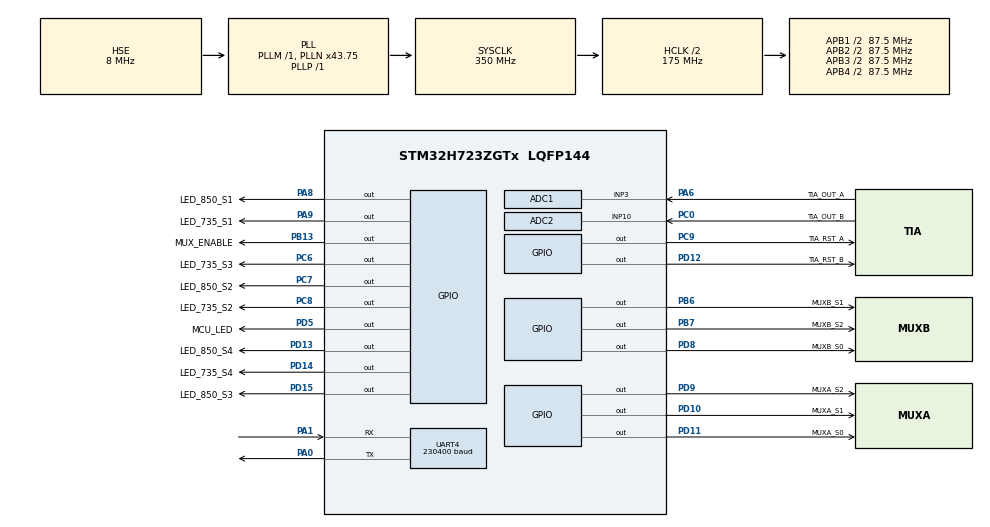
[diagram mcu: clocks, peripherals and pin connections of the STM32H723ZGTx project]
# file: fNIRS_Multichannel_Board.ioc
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ADC1.Channel-0\#ChannelRegularConversion=ADC_CHANNEL_3
ADC1.ClockPrescaler=ADC_CLOCK_ASYNC_DIV2
ADC1.NbrOfConversion=1
ADC1.NbrOfConversionFlag=1
ADC1.OffsetNumber-0\#ChannelRegularConversion=ADC_OFFSET_NONE
ADC1.OffsetSignedSaturation-0\#ChannelRegularConversion=DISABLE
ADC1.OversamplingMode=DISABLE
ADC1.Rank-0\#ChannelRegularConversion=1
ADC1.Resolution=ADC_RESOLUTION_16B
ADC1.SamplingTime-0\#ChannelRegularConversion=ADC_SAMPLETIME_64CYCLES_5
ADC1.master=1
ADC2.Channel-0\#ChannelRegularConversion=ADC_CHANNEL_10
ADC2.ClockPrescaler=ADC_CLOCK_ASYNC_DIV2
ADC2.NbrOfConversionFlag=1
ADC2.OffsetNumber-0\#ChannelRegularConversion=ADC_OFFSET_NONE
ADC2.OffsetSignedSaturation-0\#ChannelRegularConversion=DISABLE
ADC2.Rank-0\#ChannelRegularConversion=1
ADC2.SamplingTime-0\#ChannelRegularConversion=ADC_SAMPLETIME_64CYCLES_5
Mcu.Family=STM32H7
Mcu.Name=STM32H723ZGTx
Mcu.Package=LQFP144
NVIC.ADC_IRQn=true\:0\:0\:false\:false\:true\:true\:true\:true
NVIC.PriorityGroup=NVIC_PRIORITYGROUP_4
NVIC.TIM2_IRQn=true\:0\:0\:false\:false\:true\:true\:true\:true
NVIC.TIM3_IRQn=true\:0\:0\:false\:false\:true\:true\:true\:true
NVIC.UART4_IRQn=true\:0\:0\:false\:false\:true\:true\:true\:true
PA0.Mode=Asynchronous
PA0.Signal=UART4_TX
PA1.Mode=Asynchronous
PA1.Signal=UART4_RX
PA13(JTMS/SWDIO).GPIO_Label=SWDIO
PA13(JTMS/SWDIO).Mode=Trace_Asynchronous_SW
PA13(JTMS/SWDIO).Signal=DEBUG_JTMS-SWDIO
PA14(JTCK/SWCLK).GPIO_Label=SWCLK
PA14(JTCK/SWCLK).Mode=Trace_Asynchronous_SW
PA14(JTCK/SWCLK).Signal=DEBUG_JTCK-SWCLK
PA6.GPIO_Label=TIA_OUT_A
PA6.Signal=ADCx_INP3
PA8.GPIO_Label=LED_850_S1
PA8.Signal=GPIO_Output
PA9.GPIO_Label=LED_735_S1
PA9.Signal=GPIO_Output
PB13.GPIO_Label=MUX_ENABLE
PB13.Signal=GPIO_Output
PB3(JTDO/TRACESWO).GPIO_Label=SWO
PB3(JTDO/TRACESWO).Mode=Trace_Asynchronous_SW
PB3(JTDO/TRACESWO).Signal=DEBUG_JTDO-SWO
PB6.GPIO_Label=MUXB_S1
PB6.Signal=GPIO_Output
PB7.GPIO_Label=MUXB_S2
PB7.Signal=GPIO_Output
PC0.GPIO_Label=TIA_OUT_B
PC0.Signal=ADCx_INP10
PC14-OSC32_IN.Mode=LSE-External-Oscillator
PC14-OSC32_IN.Signal=RCC_OSC32_IN
PC15-OSC32_OUT.Mode=LSE-External-Oscillator
PC15-OSC32_OUT.Signal=RCC_OSC32_OUT
PC6.GPIO_Label=LED_735_S3
PC6.Signal=GPIO_Output
PC7.GPIO_Label=LED_850_S2
PC7.Signal=GPIO_Output
PC8.GPIO_Label=LED_735_S2
PC8.Signal=GPIO_Output
PC9.GPIO_Label=TIA_RST_A
PC9.Signal=GPIO_Output
PD10.GPIO_Label=MUXA_S1
PD10.Signal=GPIO_Output
PD11.GPIO_Label=MUXA_S0
PD11.Signal=GPIO_Output
PD12.GPIO_Label=TIA_RST_B
PD12.Signal=GPIO_Output
PD13.GPIO_Label=LED_850_S4
PD13.Signal=GPIO_Output
PD14.GPIO_Label=LED_735_S4
PD14.Signal=GPIO_Output
PD15.GPIO_Label=LED_850_S3
PD15.Signal=GPIO_Output
PD5.GPIO_Label=MCU_LED
PD5.Signal=GPIO_Output
PD8.GPIO_Label=MUXB_S0
PD8.Signal=GPIO_Output
PD9.GPIO_Label=MUXA_S2
PD9.Signal=GPIO_Output
PH0-OSC_IN.GPIO_Label=MCO
PH0-OSC_IN.Mode=HSE-External-Oscillator
PH0-OSC_IN.Signal=RCC_OSC_IN
PH1-OSC_OUT.Mode=HSE-External-Oscillator
PH1-OSC_OUT.Signal=RCC_OSC_OUT
ProjectManager.HeapSize=0x200
ProjectManager.StackSize=0x400
ProjectManager.TargetToolchain=STM32CubeIDE
RCC.ADCFreq_Value=96000000
RCC.APB1Freq_Value=87500000
RCC.APB2Freq_Value=87500000
RCC.APB3Freq_Value=87500000
RCC.APB4Freq_Value=87500000
RCC.CortexFreq_Value=350000000
RCC.D1PPRE=RCC_APB3_DIV2
RCC.D2PPRE1=RCC_APB1_DIV2
RCC.D2PPRE2=RCC_APB2_DIV2
RCC.D3PPRE=RCC_APB4_DIV2
RCC.DIVM1=1
RCC.DIVM2=1
RCC.DIVN1=43
RCC.DIVN2=24
RCC.DIVP1=1
RCC.DIVQ1=4
RCC.HCLKFreq_Value=175000000
RCC.HPRE=RCC_HCLK_DIV2
RCC.HSE_VALUE=8000000
RCC.PLL2FRACN=0
RCC.PLLFRACN=6144
RCC.PLLSourceVirtual=RCC_PLLSOURCE_HSE
RCC.SYSCLKFreq_VALUE=350000000
RCC.SYSCLKSource=RCC_SYSCLKSOURCE_PLLCLK
RCC.USBCLockSelection=RCC_USBCLKSOURCE_HSI48
RCC.USBFreq_Value=48000000
SH.ADCx_INP10.0=ADC2_INP10,IN10-Single-Ended
SH.ADCx_INP3.0=ADC1_INP3,IN3-Single-Ended
TIM2.Period=999
TIM2.Prescaler=1749
TIM3.Channel-Output\ Compare1\ No\ Output=TIM_CHANNEL_1
TIM3.OCMode_1=TIM_OCMODE_TIMING
TIM3.Period=499
TIM3.Prescaler=69
TIM3.Pulse-Output\ Compare1\ No\ Output=450
UART4.BaudRate=230400
VP_MEMORYMAP_VS_MEMORYMAP.Mode=CurAppReg
VP_TIM2_VS_ClockSourceINT.Mode=Internal
VP_TIM3_VS_ClockSourceINT.Mode=Internal
VP_TIM3_VS_no_output1.Mode=Output Compare1 No Output
VREF+.Mode=InternalMode
VREF+.Signal=VREFBUF_OUT
board=NUCLEO-H723ZG

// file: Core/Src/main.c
/* USER CODE BEGIN Header */
/**
  ******************************************************************************
  * @file           : main.c
  * @brief          : Main program body
  ******************************************************************************
  * @attention
  *
  * Copyright (c) 2024 STMicroelectronics.
  * All rights reserved.
  *
  * This software is licensed under terms that can be found in the LICENSE file
  * in the root directory of this software component.
  * If no LICENSE file comes with this software, it is provided AS-IS.
  *
  ******************************************************************************
  */
/* USER CODE END Header */
#include "main.h"

/* USER CODE BEGIN Includes */
#include "stdint.h"
/* USER CODE END Includes */

/* USER CODE BEGIN PD */
#define SAMPLE_COUNT 40U
#define NUM_TASKS 2U
#define NUM_BUFFERS 2U

#define NO_TRANSMISSION_IN_PROGRESS 255U

#define BUFFER_EMPTY 0U
#define BUFFER_FULL 1U

#define SAMPLING_INACTIVE 0U
#define SAMPLING_ACTIVE 1U

/* LED Source Macros */
#define LED_735_S1 1U
#define LED_850_S1 2U
#define LED_735_S2 3U
#define LED_850_S2 4U
#define LED_735_S3 5U
#define LED_850_S3 6U
#define LED_735_S4 7U
#define LED_850_S4 8U

/* MUX Macros */
#define MUX_A 'a'
#define MUX_B 'b'

#define DETECTOR_0 0U
#define DETECTOR_1 1U
#define DETECTOR_2 2U
#define DETECTOR_3 3U
#define DETECTOR_4 4U
#define DETECTOR_5 5U

/* USER CODE END PD */

/* USER CODE BEGIN PM */
/* This is what we send over UART to the PC. */
typedef struct {
	uint32_t uniqueHeader;
	uint16_t adcSamples[SAMPLE_COUNT];
	uint32_t uniqueEnder;	//The future vision here is a checksum.
} DataPacket_t;

/* This is an object that is being passed around. It mimics OOP but in C instead. */
typedef struct {
	DataPacket_t dataPacket;
	volatile uint8_t bufferFullFlag;
} DataBuffer_t;

/* This holds info about the specific configurations needed for a particular sample collection event. */
typedef struct {
    uint8_t led_source;        // e.g., LED_735_S1
    char mux_select;           // 'a' or 'b' for MUXA or MUXB
    uint8_t mux_input_value;   // 0 to 5
    uint32_t compare_value;    // 50μs or 100μs
} SamplingSequence_t;
/* USER CODE END PM */

ADC_HandleTypeDef hadc1;
ADC_HandleTypeDef hadc2;

TIM_HandleTypeDef htim2;
TIM_HandleTypeDef htim3;

UART_HandleTypeDef huart4;

/* USER CODE BEGIN PV */
/**
 * @brief This index is used to iterate through the buffer storing ADC samples.
 */
volatile uint8_t adcSampleIndex = 0;

/**
 * @brief This index is used to denote which buffer (0 or 1) is being filled by the ADC.
 * This is used by dataBuffers array to switch between which buffer is being referred to.
 */
volatile uint8_t bufferNumIndex = 0;

/**
 * @brief This is a flag that allows TIMER3 to do its job of collecting ADC data or switching buffer.
 * This flag is lowered once 40 ADC samples have been collected, effectively rendering
 * TIMER3 idle until the next 10ms sampling interval. This flag approach is a bandaid method
 * since you cannot disable TIMER3 (200us) and start it again within the IRQ handler of TIMER2 (10ms).
 */
volatile uint8_t samplingActive = SAMPLING_ACTIVE;

/**
 * @brief This flag indicates whether a UART transmission is in progress or not.
 */
volatile uint8_t transmittingBuffer = NO_TRANSMISSION_IN_PROGRESS; // Invalid index to indicate no transmission in progress

/**
 * @brief This instantiates two buffers to be ping-ponged for time efficiency.
 */
DataBuffer_t dataBuffers[NUM_BUFFERS];

/**
 * @brief Timer variables, used in initialization and output compare period calculations.
 * TIM3 & TIM2 are on APB1 bus matrix. Refer to page 139 of STM32H723ZG ref. manual
 * Timer Period = (Prescaler + 1) * (ARR + 1) / f_clk (Hz)
 */
#define F_CLK 175000000UL
#define TIM2_PSC 1749U
#define TIM2_ARR 1999U
#define TIM3_PSC 69U
#define TIM3_ARR 999U

/* Old 10ms and 200us configurations.
#define TIM2_PSC 1749U
#define TIM2_ARR 999U
#define TIM3_PSC 69U
#define TIM3_ARR 499U
*/

/**
 * @brief Long separation output compare period;
 * OC Match Time = (Prescaler + 1) * OC.Pulse / f_clk (Hz)
 * OC is tied to TIM3, which is APB1 bus matrix (f_clk = 175MHz)
 */
#define LONG_OC_PRD 180U                                                        //USER-DEFINED, desired compare period (in microseconds)
#define LONG_OC_PULSE (((uint64_t)LONG_OC_PRD * F_CLK) / ((TIM3_PSC + 1) * 1000000UL))    //CALCULATED, DO NOT TOUCH!

#define LONGMA_OC_PRD 360U                                                       //USER-DEFINED, desired compare period (in microseconds)
#define LONGMA_OC_PULSE (((uint64_t)LONGMA_OC_PRD * F_CLK) / ((TIM3_PSC + 1) * 1000000UL))    //CALCULATED, DO NOT TOUCH!

/**
 * @brief Short separation output compare period;
 * OC Match Time = (Prescaler + 1) * OC.Pulse / f_clk (Hz)
 * OC is tied to TIM3, which is APB1 bus matrix (f_clk = 175MHz)
 */
#define SHORT_OC_PRD 40U                                                        //USER-DEFINED, desired compare period (in microseconds)
#define SHORT_OC_PULSE (((uint64_t)SHORT_OC_PRD * F_CLK) / ((TIM3_PSC + 1) * 1000000UL))  //CALCULATED, DO NOT TOUCH!

#define SHORTMA_OC_PRD 80U                                                        //USER-DEFINED, desired compare period (in microseconds)
#define SHORTMA_OC_PULSE (((uint64_t)SHORT_OC_PRD * F_CLK) / ((TIM3_PSC + 1) * 1000000UL))  //CALCULATED, DO NOT TOUCH!

SamplingSequence_t sequence[] = {
    // For LED_735_S1
    {LED_735_S1, MUX_A, DETECTOR_0, LONG_OC_PULSE},
    {LED_735_S1, MUX_A, DETECTOR_1, LONG_OC_PULSE},
    {LED_735_S1, MUX_A, DETECTOR_2, SHORT_OC_PULSE},
    {LED_735_S1, MUX_A, DETECTOR_4, LONG_OC_PULSE},
    {LED_735_S1, MUX_A, DETECTOR_5, LONG_OC_PULSE},
    // For LED_850_S1
    {LED_850_S1, MUX_A, DETECTOR_0,  LONGMA_OC_PULSE},
    {LED_850_S1, MUX_A, DETECTOR_1,  LONGMA_OC_PULSE},
    {LED_850_S1, MUX_A, DETECTOR_2, SHORTMA_OC_PULSE},
    {LED_850_S1, MUX_A, DETECTOR_4,  LONGMA_OC_PULSE},
    {LED_850_S1, MUX_A, DETECTOR_5,  LONGMA_OC_PULSE},
    // For LED_735_S2
    {LED_735_S2, MUX_A, DETECTOR_2, LONG_OC_PULSE},
    {LED_735_S2, MUX_A, DETECTOR_3, LONG_OC_PULSE},
    {LED_735_S2, MUX_A, DETECTOR_4, SHORT_OC_PULSE},
    {LED_735_S2, MUX_B, DETECTOR_0, LONG_OC_PULSE},
    {LED_735_S2, MUX_B, DETECTOR_1, LONG_OC_PULSE},
    // For LED_850_S2
    {LED_850_S2, MUX_A, DETECTOR_2,  LONGMA_OC_PULSE},
    {LED_850_S2, MUX_A, DETECTOR_3,  LONGMA_OC_PULSE},
    {LED_850_S2, MUX_A, DETECTOR_4, SHORTMA_OC_PULSE},
    {LED_850_S2, MUX_B, DETECTOR_0,  LONGMA_OC_PULSE},
    {LED_850_S2, MUX_B, DETECTOR_1,  LONGMA_OC_PULSE},
    // For LED_735_S3
    {LED_735_S3, MUX_A, DETECTOR_4, LONG_OC_PULSE},
    {LED_735_S3, MUX_A, DETECTOR_5, LONG_OC_PULSE},
    {LED_735_S3, MUX_B, DETECTOR_0, SHORT_OC_PULSE},
    {LED_735_S3, MUX_B, DETECTOR_2, LONG_OC_PULSE},
    {LED_735_S3, MUX_B, DETECTOR_3, LONG_OC_PULSE},
    // For LED_850_S3
    {LED_850_S3, MUX_A, DETECTOR_4,  LONGMA_OC_PULSE},
    {LED_850_S3, MUX_A, DETECTOR_5,  LONGMA_OC_PULSE},
    {LED_850_S3, MUX_B, DETECTOR_0, SHORTMA_OC_PULSE},
    {LED_850_S3, MUX_B, DETECTOR_2,  LONGMA_OC_PULSE},
    {LED_850_S3, MUX_B, DETECTOR_3,  LONGMA_OC_PULSE},
    // For LED_735_S4
    {LED_735_S4, MUX_B, DETECTOR_0, LONG_OC_PULSE},
    {LED_735_S4, MUX_B, DETECTOR_1, LONG_OC_PULSE},
    {LED_735_S4, MUX_B, DETECTOR_2, SHORT_OC_PULSE},
    {LED_735_S4, MUX_B, DETECTOR_4, LONG_OC_PULSE},
    {LED_735_S4, MUX_B, DETECTOR_5, LONG_OC_PULSE},
    // For LED_850_S4
    {LED_850_S4, MUX_B, DETECTOR_0,  LONGMA_OC_PULSE},
    {LED_850_S4, MUX_B, DETECTOR_1,  LONGMA_OC_PULSE},
    {LED_850_S4, MUX_B, DETECTOR_2, SHORTMA_OC_PULSE},
    {LED_850_S4, MUX_B, DETECTOR_4,  LONGMA_OC_PULSE},
    {LED_850_S4, MUX_B, DETECTOR_5,  LONGMA_OC_PULSE}
};

#define SEQUENCE_LENGTH (sizeof(sequence) / sizeof(SamplingSequence_t))

volatile SamplingSequence_t current_sequence;

/* USER CODE END PV */

void SystemClock_Config(void);
void PeriphCommonClock_Config(void);
static void MX_GPIO_Init(void);
static void MX_ADC1_Init(void);
static void MX_UART4_Init(void);
static void MX_TIM2_Init(void);
static void MX_TIM3_Init(void);
static void MX_ADC2_Init(void);
/* USER CODE BEGIN PFP */
void UpdateSequenceState(void);
void SetMuxInputs(char mux_select, uint8_t mux_input_value);
void Check_Buffer_Full_Task(void);
void Buffers_Overflow_Error_Task(void);
void SetTIAHigh(char mux_select);
void SetTIALow(void);
void TurnOnLED(uint8_t led_source);
void TurnOffAllLEDs(void);
void StartADCConversion(char mux_select);
/* USER CODE END PFP */

/* USER CODE BEGIN 0 */
/**
 * @brief Task Array for Round-Robin Scheduler
 */
void (*TaskArray[NUM_TASKS])(void) =
{
	Check_Buffer_Full_Task,
	Buffers_Overflow_Error_Task
};

/* USER CODE END 0 */

int main(void)
{

  /* USER CODE BEGIN 1 */
  /* MCU LED active indicates no errors and everything is functional. */
  //HAL_GPIO_WritePin(MCU_LED_GPIO_Port, MCU_LED_Pin, GPIO_PIN_SET);

  /* USER CODE END 1 */

  /* MCU Configuration--------------------------------------------------------*/

  /* Reset of all peripherals, Initializes the Flash interface and the Systick. */
  HAL_Init();

  /* Configure the system clock */
  SystemClock_Config();

  /* Configure the peripherals common clocks */
  PeriphCommonClock_Config();

  /* Initialize all configured peripherals */
  MX_GPIO_Init();
  MX_ADC1_Init();
  MX_UART4_Init();
  MX_TIM2_Init();
  MX_TIM3_Init();
  MX_ADC2_Init();
  /* USER CODE BEGIN 2 */
  SetTIALow();
  HAL_Delay(10);  //Ensures TIA is fully discharged.

  /* Initializes the two buffer objects with data. */
	for (uint8_t i = 0; i < NUM_BUFFERS; i++)
	{
		dataBuffers[i].dataPacket.uniqueHeader = 0xFFFFFFFF;
		dataBuffers[i].dataPacket.uniqueEnder = 0xDEADBEEF;
		dataBuffers[i].bufferFullFlag = BUFFER_EMPTY;
	}

  /* Initializes the first sequence to kick things off. */
  UpdateSequenceState();

  /* Drives MUX Enable LOW to start receiving input changes. (Inverse logic) */
  HAL_GPIO_WritePin(MUX_ENABLE_GPIO_Port, MUX_ENABLE_Pin, GPIO_PIN_RESET);

  /* Selects the sensor and starts charging the TIA for the first 200us interval. */
  SetMuxInputs(current_sequence.mux_select, current_sequence.mux_input_value);
  TurnOnLED(current_sequence.led_source);
  SetTIAHigh(current_sequence.mux_select);

  /* Reset TIM2 and TIM3 counter */
  __HAL_TIM_SET_COUNTER(&htim3, 0);
  __HAL_TIM_SET_COUNTER(&htim2, 0);

  /* Kicks off 10ms timer, 200us timer, and Compare Capture */
	if (HAL_TIM_Base_Start_IT(&htim2) != HAL_OK){ Error_Handler(); }
	if (HAL_TIM_Base_Start_IT(&htim3) != HAL_OK){ Error_Handler(); }
	if (HAL_TIM_OC_Start_IT(&htim3, TIM_CHANNEL_1) != HAL_OK){ Error_Handler(); }

  // Round-Robin Scheduler Variables
  uint8_t currentTask = 0;

  /* USER CODE END 2 */

  /* Infinite loop */
  /* USER CODE BEGIN WHILE */
  while (1)
  {
    // Call the current task
		TaskArray[currentTask]();

		// Move to the next task
		currentTask = (currentTask + 1) % NUM_TASKS;
    /* USER CODE END WHILE */

  }
}

void SystemClock_Config(void)
{
  RCC_OscInitTypeDef RCC_OscInitStruct = {0};
  RCC_ClkInitTypeDef RCC_ClkInitStruct = {0};

  /** Supply configuration update enable
  */
  HAL_PWREx_ConfigSupply(PWR_LDO_SUPPLY);

  /** Configure the main internal regulator output voltage
  */
  __HAL_PWR_VOLTAGESCALING_CONFIG(PWR_REGULATOR_VOLTAGE_SCALE1);

  while(!__HAL_PWR_GET_FLAG(PWR_FLAG_VOSRDY)) {}

  /** Initializes the RCC Oscillators according to the specified parameters
  * in the RCC_OscInitTypeDef structure.
  */
  RCC_OscInitStruct.OscillatorType = RCC_OSCILLATORTYPE_HSE;
  RCC_OscInitStruct.HSEState = RCC_HSE_ON;
  RCC_OscInitStruct.PLL.PLLState = RCC_PLL_ON;
  RCC_OscInitStruct.PLL.PLLSource = RCC_PLLSOURCE_HSE;
  RCC_OscInitStruct.PLL.PLLM = 1;
  RCC_OscInitStruct.PLL.PLLN = 43;
  RCC_OscInitStruct.PLL.PLLP = 1;
  RCC_OscInitStruct.PLL.PLLQ = 4;
  RCC_OscInitStruct.PLL.PLLR = 2;
  RCC_OscInitStruct.PLL.PLLRGE = RCC_PLL1VCIRANGE_3;
  RCC_OscInitStruct.PLL.PLLVCOSEL = RCC_PLL1VCOWIDE;
  RCC_OscInitStruct.PLL.PLLFRACN = 6144;
  if (HAL_RCC_OscConfig(&RCC_OscInitStruct) != HAL_OK)
  {
    Error_Handler();
  }

  /** Initializes the CPU, AHB and APB buses clocks
  */
  RCC_ClkInitStruct.ClockType = RCC_CLOCKTYPE_HCLK|RCC_CLOCKTYPE_SYSCLK
                              |RCC_CLOCKTYPE_PCLK1|RCC_CLOCKTYPE_PCLK2
                              |RCC_CLOCKTYPE_D3PCLK1|RCC_CLOCKTYPE_D1PCLK1;
  RCC_ClkInitStruct.SYSCLKSource = RCC_SYSCLKSOURCE_PLLCLK;
  RCC_ClkInitStruct.SYSCLKDivider = RCC_SYSCLK_DIV1;
  RCC_ClkInitStruct.AHBCLKDivider = RCC_HCLK_DIV2;
  RCC_ClkInitStruct.APB3CLKDivider = RCC_APB3_DIV2;
  RCC_ClkInitStruct.APB1CLKDivider = RCC_APB1_DIV2;
  RCC_ClkInitStruct.APB2CLKDivider = RCC_APB2_DIV2;
  RCC_ClkInitStruct.APB4CLKDivider = RCC_APB4_DIV2;

  if (HAL_RCC_ClockConfig(&RCC_ClkInitStruct, FLASH_LATENCY_2) != HAL_OK)
  {
    Error_Handler();
  }
}

void PeriphCommonClock_Config(void)
{
  RCC_PeriphCLKInitTypeDef PeriphClkInitStruct = {0};

  /** Initializes the peripherals clock
  */
  PeriphClkInitStruct.PeriphClockSelection = RCC_PERIPHCLK_ADC;
  PeriphClkInitStruct.PLL2.PLL2M = 1;
  PeriphClkInitStruct.PLL2.PLL2N = 24;
  PeriphClkInitStruct.PLL2.PLL2P = 2;
  PeriphClkInitStruct.PLL2.PLL2Q = 2;
  PeriphClkInitStruct.PLL2.PLL2R = 2;
  PeriphClkInitStruct.PLL2.PLL2RGE = RCC_PLL2VCIRANGE_3;
  PeriphClkInitStruct.PLL2.PLL2VCOSEL = RCC_PLL2VCOWIDE;
  PeriphClkInitStruct.PLL2.PLL2FRACN = 0;
  PeriphClkInitStruct.AdcClockSelection = RCC_ADCCLKSOURCE_PLL2;
  if (HAL_RCCEx_PeriphCLKConfig(&PeriphClkInitStruct) != HAL_OK)
  {
    Error_Handler();
  }
}

static void MX_ADC1_Init(void)
{

  ADC_MultiModeTypeDef multimode = {0};
  ADC_ChannelConfTypeDef sConfig = {0};

  /** Common config
  */
  hadc1.Instance = ADC1;
  hadc1.Init.ClockPrescaler = ADC_CLOCK_ASYNC_DIV2;
  hadc1.Init.Resolution = ADC_RESOLUTION_16B;
  hadc1.Init.ScanConvMode = ADC_SCAN_DISABLE;
  hadc1.Init.EOCSelection = ADC_EOC_SINGLE_CONV;
  hadc1.Init.LowPowerAutoWait = DISABLE;
  hadc1.Init.ContinuousConvMode = DISABLE;
  hadc1.Init.NbrOfConversion = 1;
  hadc1.Init.DiscontinuousConvMode = DISABLE;
  hadc1.Init.ExternalTrigConv = ADC_SOFTWARE_START;
  hadc1.Init.ExternalTrigConvEdge = ADC_EXTERNALTRIGCONVEDGE_NONE;
  hadc1.Init.ConversionDataManagement = ADC_CONVERSIONDATA_DR;
  hadc1.Init.Overrun = ADC_OVR_DATA_PRESERVED;
  hadc1.Init.LeftBitShift = ADC_LEFTBITSHIFT_NONE;
  hadc1.Init.OversamplingMode = DISABLE;
  hadc1.Init.Oversampling.Ratio = 1;
  if (HAL_ADC_Init(&hadc1) != HAL_OK)
  {
    Error_Handler();
  }

  /** Configure the ADC multi-mode
  */
  multimode.Mode = ADC_MODE_INDEPENDENT;
  if (HAL_ADCEx_MultiModeConfigChannel(&hadc1, &multimode) != HAL_OK)
  {
    Error_Handler();
  }

  /** Configure Regular Channel
  */
  sConfig.Channel = ADC_CHANNEL_3;
  sConfig.Rank = ADC_REGULAR_RANK_1;
  sConfig.SamplingTime = ADC_SAMPLETIME_64CYCLES_5;
  sConfig.SingleDiff = ADC_SINGLE_ENDED;
  sConfig.OffsetNumber = ADC_OFFSET_NONE;
  sConfig.Offset = 0;
  sConfig.OffsetSignedSaturation = DISABLE;
  if (HAL_ADC_ConfigChannel(&hadc1, &sConfig) != HAL_OK)
  {
    Error_Handler();
  }

}

static void MX_ADC2_Init(void)
{

  ADC_ChannelConfTypeDef sConfig = {0};

  /** Common config
  */
  hadc2.Instance = ADC2;
  hadc2.Init.ClockPrescaler = ADC_CLOCK_ASYNC_DIV2;
  hadc2.Init.Resolution = ADC_RESOLUTION_16B;
  hadc2.Init.ScanConvMode = ADC_SCAN_DISABLE;
  hadc2.Init.EOCSelection = ADC_EOC_SINGLE_CONV;
  hadc2.Init.LowPowerAutoWait = DISABLE;
  hadc2.Init.ContinuousConvMode = DISABLE;
  hadc2.Init.NbrOfConversion = 1;
  hadc2.Init.DiscontinuousConvMode = DISABLE;
  hadc2.Init.ExternalTrigConv = ADC_SOFTWARE_START;
  hadc2.Init.ExternalTrigConvEdge = ADC_EXTERNALTRIGCONVEDGE_NONE;
  hadc2.Init.ConversionDataManagement = ADC_CONVERSIONDATA_DR;
  hadc2.Init.Overrun = ADC_OVR_DATA_PRESERVED;
  hadc2.Init.LeftBitShift = ADC_LEFTBITSHIFT_NONE;
  hadc2.Init.OversamplingMode = DISABLE;
  hadc2.Init.Oversampling.Ratio = 1;
  if (HAL_ADC_Init(&hadc2) != HAL_OK)
  {
    Error_Handler();
  }

  /** Configure Regular Channel
  */
  sConfig.Channel = ADC_CHANNEL_10;
  sConfig.Rank = ADC_REGULAR_RANK_1;
  sConfig.SamplingTime = ADC_SAMPLETIME_64CYCLES_5;
  sConfig.SingleDiff = ADC_SINGLE_ENDED;
  sConfig.OffsetNumber = ADC_OFFSET_NONE;
  sConfig.Offset = 0;
  sConfig.OffsetSignedSaturation = DISABLE;
  if (HAL_ADC_ConfigChannel(&hadc2, &sConfig) != HAL_OK)
  {
    Error_Handler();
  }

}

static void MX_TIM2_Init(void)
{

  TIM_ClockConfigTypeDef sClockSourceConfig = {0};
  TIM_MasterConfigTypeDef sMasterConfig = {0};

  htim2.Instance = TIM2;
  htim2.Init.Prescaler = TIM2_PSC;
  htim2.Init.CounterMode = TIM_COUNTERMODE_UP;
  htim2.Init.Period = TIM2_ARR;
  htim2.Init.ClockDivision = TIM_CLOCKDIVISION_DIV1;
  htim2.Init.AutoReloadPreload = TIM_AUTORELOAD_PRELOAD_DISABLE;
  if (HAL_TIM_Base_Init(&htim2) != HAL_OK)
  {
    Error_Handler();
  }
  sClockSourceConfig.ClockSource = TIM_CLOCKSOURCE_INTERNAL;
  if (HAL_TIM_ConfigClockSource(&htim2, &sClockSourceConfig) != HAL_OK)
  {
    Error_Handler();
  }
  sMasterConfig.MasterOutputTrigger = TIM_TRGO_RESET;
  sMasterConfig.MasterSlaveMode = TIM_MASTERSLAVEMODE_DISABLE;
  if (HAL_TIMEx_MasterConfigSynchronization(&htim2, &sMasterConfig) != HAL_OK)
  {
    Error_Handler();
  }

}

static void MX_TIM3_Init(void)
{

  TIM_ClockConfigTypeDef sClockSourceConfig = {0};
  TIM_MasterConfigTypeDef sMasterConfig = {0};
  TIM_OC_InitTypeDef sConfigOC = {0};

  htim3.Instance = TIM3;
  htim3.Init.Prescaler = TIM3_PSC;
  htim3.Init.CounterMode = TIM_COUNTERMODE_UP;
  htim3.Init.Period = TIM3_ARR;
  htim3.Init.ClockDivision = TIM_CLOCKDIVISION_DIV1;
  htim3.Init.AutoReloadPreload = TIM_AUTORELOAD_PRELOAD_DISABLE;
  if (HAL_TIM_Base_Init(&htim3) != HAL_OK)
  {
    Error_Handler();
  }
  sClockSourceConfig.ClockSource = TIM_CLOCKSOURCE_INTERNAL;
  if (HAL_TIM_ConfigClockSource(&htim3, &sClockSourceConfig) != HAL_OK)
  {
    Error_Handler();
  }
  if (HAL_TIM_OC_Init(&htim3) != HAL_OK)
  {
    Error_Handler();
  }
  sMasterConfig.MasterOutputTrigger = TIM_TRGO_RESET;
  sMasterConfig.MasterSlaveMode = TIM_MASTERSLAVEMODE_DISABLE;
  if (HAL_TIMEx_MasterConfigSynchronization(&htim3, &sMasterConfig) != HAL_OK)
  {
    Error_Handler();
  }
  sConfigOC.OCMode = TIM_OCMODE_TIMING;
  sConfigOC.Pulse = LONG_OC_PULSE;
  sConfigOC.OCPolarity = TIM_OCPOLARITY_HIGH;
  sConfigOC.OCFastMode = TIM_OCFAST_DISABLE;
  if (HAL_TIM_OC_ConfigChannel(&htim3, &sConfigOC, TIM_CHANNEL_1) != HAL_OK)
  {
    Error_Handler();
  }
  /* USER CODE BEGIN TIM3_Init 2 */
  /**
  * @brief IMPORTANT! Preload ENABLE ensures that a compare period update won't take effect
  * until the next timer cycle. This prevents the error where let's say a 90us compare period
  * updates the compare period to 180us. Then when the timer reaches 180us, it activates again,
  * which is something we do not want. We want a singular compare period event per timer interval.
  */
  __HAL_TIM_ENABLE_OCxPRELOAD(&htim3, TIM_CHANNEL_1);
  /* USER CODE END TIM3_Init 2 */

}

static void MX_UART4_Init(void)
{

  huart4.Instance = UART4;
  huart4.Init.BaudRate = 230400;
  huart4.Init.WordLength = UART_WORDLENGTH_8B;
  huart4.Init.StopBits = UART_STOPBITS_1;
  huart4.Init.Parity = UART_PARITY_NONE;
  huart4.Init.Mode = UART_MODE_TX_RX;
  huart4.Init.HwFlowCtl = UART_HWCONTROL_NONE;
  huart4.Init.OverSampling = UART_OVERSAMPLING_16;
  huart4.Init.OneBitSampling = UART_ONE_BIT_SAMPLE_DISABLE;
  huart4.Init.ClockPrescaler = UART_PRESCALER_DIV1;
  huart4.AdvancedInit.AdvFeatureInit = UART_ADVFEATURE_NO_INIT;
  if (HAL_UART_Init(&huart4) != HAL_OK)
  {
    Error_Handler();
  }
  if (HAL_UARTEx_SetTxFifoThreshold(&huart4, UART_TXFIFO_THRESHOLD_1_8) != HAL_OK)
  {
    Error_Handler();
  }
  if (HAL_UARTEx_SetRxFifoThreshold(&huart4, UART_RXFIFO_THRESHOLD_1_8) != HAL_OK)
  {
    Error_Handler();
  }
  if (HAL_UARTEx_DisableFifoMode(&huart4) != HAL_OK)
  {
    Error_Handler();
  }

}

static void MX_GPIO_Init(void)
{
  GPIO_InitTypeDef GPIO_InitStruct = {0};

  /* GPIO Ports Clock Enable */
  __HAL_RCC_GPIOC_CLK_ENABLE();
  __HAL_RCC_GPIOH_CLK_ENABLE();
  __HAL_RCC_GPIOA_CLK_ENABLE();
  __HAL_RCC_GPIOB_CLK_ENABLE();
  __HAL_RCC_GPIOD_CLK_ENABLE();

  /*Configure GPIO pin Output Level */
  HAL_GPIO_WritePin(GPIOB, MUX_ENABLE_Pin|MUXB_S1_Pin|MUXB_S2_Pin, GPIO_PIN_RESET);

  /*Configure GPIO pin Output Level */
  HAL_GPIO_WritePin(GPIOD, MUXB_S0_Pin|MUXA_S2_Pin|MUXA_S1_Pin|MUXA_S0_Pin
                          |TIA_RST_B_Pin|LED_850_S4_Pin|LED_735_S4_Pin|LED_850_S3_Pin
                          |MCU_LED_Pin, GPIO_PIN_RESET);

  /*Configure GPIO pin Output Level */
  HAL_GPIO_WritePin(GPIOC, LED_735_S3_Pin|LED_850_S2_Pin|LED_735_S2_Pin|TIA_RST_A_Pin, GPIO_PIN_RESET);

  /*Configure GPIO pin Output Level */
  HAL_GPIO_WritePin(GPIOA, LED_850_S1_Pin|LED_735_S1_Pin, GPIO_PIN_RESET);

  /*Configure GPIO pins : MUX_ENABLE_Pin MUXB_S1_Pin MUXB_S2_Pin */
  GPIO_InitStruct.Pin = MUX_ENABLE_Pin|MUXB_S1_Pin|MUXB_S2_Pin;
  GPIO_InitStruct.Mode = GPIO_MODE_OUTPUT_PP;
  GPIO_InitStruct.Pull = GPIO_NOPULL;
  GPIO_InitStruct.Speed = GPIO_SPEED_FREQ_HIGH;
  HAL_GPIO_Init(GPIOB, &GPIO_InitStruct);

  /*Configure GPIO pins : MUXB_S0_Pin MUXA_S2_Pin MUXA_S1_Pin MUXA_S0_Pin
                           TIA_RST_B_Pin LED_850_S4_Pin LED_735_S4_Pin LED_850_S3_Pin
                           MCU_LED_Pin */
  GPIO_InitStruct.Pin = MUXB_S0_Pin|MUXA_S2_Pin|MUXA_S1_Pin|MUXA_S0_Pin
                          |TIA_RST_B_Pin|LED_850_S4_Pin|LED_735_S4_Pin|LED_850_S3_Pin
                          |MCU_LED_Pin;
  GPIO_InitStruct.Mode = GPIO_MODE_OUTPUT_PP;
  GPIO_InitStruct.Pull = GPIO_NOPULL;
  GPIO_InitStruct.Speed = GPIO_SPEED_FREQ_HIGH;
  HAL_GPIO_Init(GPIOD, &GPIO_InitStruct);

  /*Configure GPIO pins : LED_735_S3_Pin LED_850_S2_Pin LED_735_S2_Pin TIA_RST_A_Pin */
  GPIO_InitStruct.Pin = LED_735_S3_Pin|LED_850_S2_Pin|LED_735_S2_Pin|TIA_RST_A_Pin;
  GPIO_InitStruct.Mode = GPIO_MODE_OUTPUT_PP;
  GPIO_InitStruct.Pull = GPIO_NOPULL;
  GPIO_InitStruct.Speed = GPIO_SPEED_FREQ_HIGH;
  HAL_GPIO_Init(GPIOC, &GPIO_InitStruct);

  /*Configure GPIO pins : LED_850_S1_Pin LED_735_S1_Pin */
  GPIO_InitStruct.Pin = LED_850_S1_Pin|LED_735_S1_Pin;
  GPIO_InitStruct.Mode = GPIO_MODE_OUTPUT_PP;
  GPIO_InitStruct.Pull = GPIO_NOPULL;
  GPIO_InitStruct.Speed = GPIO_SPEED_FREQ_HIGH;
  HAL_GPIO_Init(GPIOA, &GPIO_InitStruct);

}

/* USER CODE BEGIN 4 */
/**
  * @brief Updates the current_sequence object to contain values for the
  * configurations for the next data sample collection event.
  * @param None
  * @retval None
  */
void UpdateSequenceState(void)
{
  static uint8_t index = 0;

  /* Load the next sequence step */
  current_sequence = sequence[index];

  /* Update the timer's compare value */
  __HAL_TIM_SET_COMPARE(&htim3, TIM_CHANNEL_1, current_sequence.compare_value);

  uint32_t debug_value = __HAL_TIM_GET_COMPARE(&htim3, TIM_CHANNEL_1);
  if (debug_value != current_sequence.compare_value){ Error_Handler(); }

  /* Increment index for next update */
  index = (index + 1) % SEQUENCE_LENGTH;
}

/**
  * @brief Takes the number defined in the current sequence entry
  * and toggles MUX GPIO inputs accordingly.
  * @param mux_select denoting MUXA or MUXB.
  * @param mux_input_value denoting 0 - 5 for sensor number.
  * @retval None
  */
void SetMuxInputs(char mux_select, uint8_t mux_input_value)
{
  uint8_t bit0 = (mux_input_value >> 0) & 0x01; // LSB
  uint8_t bit1 = (mux_input_value >> 1) & 0x01;
  uint8_t bit2 = (mux_input_value >> 2) & 0x01;

  if (mux_select == MUX_A)
  {
    HAL_GPIO_WritePin(MUXA_S0_GPIO_Port, MUXA_S0_Pin, bit0 ? GPIO_PIN_SET : GPIO_PIN_RESET);
    HAL_GPIO_WritePin(MUXA_S1_GPIO_Port, MUXA_S1_Pin, bit1 ? GPIO_PIN_SET : GPIO_PIN_RESET);
    HAL_GPIO_WritePin(MUXA_S2_GPIO_Port, MUXA_S2_Pin, bit2 ? GPIO_PIN_SET : GPIO_PIN_RESET);
  }
  else if (mux_select == MUX_B)
  {
    HAL_GPIO_WritePin(MUXB_S0_GPIO_Port, MUXB_S0_Pin, bit0 ? GPIO_PIN_SET : GPIO_PIN_RESET);
    HAL_GPIO_WritePin(MUXB_S1_GPIO_Port, MUXB_S1_Pin, bit1 ? GPIO_PIN_SET : GPIO_PIN_RESET);
    HAL_GPIO_WritePin(MUXB_S2_GPIO_Port, MUXB_S2_Pin, bit2 ? GPIO_PIN_SET : GPIO_PIN_RESET);
  }
  else
  {
    Error_Handler();
    return; //Error code
  }
}

/**
  * @brief Toggles TIA to HIGH. Which TIA is chosen to
  * toggle depends on whether it is MUXA or MUXB.
  * @param mux_select denoting MUXA or MUXB.
  * @retval None
  */
void SetTIAHigh(char mux_select)
{
  if (mux_select == MUX_A)
  {
    HAL_GPIO_WritePin(TIA_RST_A_GPIO_Port, TIA_RST_A_Pin, GPIO_PIN_RESET);
  }
  else if (mux_select == MUX_B)
  {
    HAL_GPIO_WritePin(TIA_RST_B_GPIO_Port, TIA_RST_B_Pin, GPIO_PIN_RESET);
  }
  else{Error_Handler();}
  HAL_GPIO_WritePin(MCU_LED_GPIO_Port, MCU_LED_Pin, GPIO_PIN_SET);
}

/**
  * @brief Toggles all TIA GPIOs to LOW.
  * @param None
  * @retval None
  */
void SetTIALow(void)
{
  HAL_GPIO_WritePin(TIA_RST_A_GPIO_Port, TIA_RST_A_Pin, GPIO_PIN_SET);
  HAL_GPIO_WritePin(TIA_RST_B_GPIO_Port, TIA_RST_B_Pin, GPIO_PIN_SET);
  HAL_GPIO_WritePin(MCU_LED_GPIO_Port, MCU_LED_Pin, GPIO_PIN_RESET);
}

/**
  * @brief Toggles specified LED to HIGH.
  * @param led_source Source specified by the sequence.
  * @retval None
  */
void TurnOnLED(uint8_t led_source)
{
  switch (led_source)
  {
    case LED_735_S1:
      HAL_GPIO_WritePin(LED_735_S1_GPIO_Port, LED_735_S1_Pin, GPIO_PIN_SET);
      break;
    case LED_850_S1:
      HAL_GPIO_WritePin(LED_850_S1_GPIO_Port, LED_850_S1_Pin, GPIO_PIN_SET);
      break;
    case LED_735_S2:
      HAL_GPIO_WritePin(LED_735_S2_GPIO_Port, LED_735_S2_Pin, GPIO_PIN_SET);
      break;
    case LED_850_S2:
      HAL_GPIO_WritePin(LED_850_S2_GPIO_Port, LED_850_S2_Pin, GPIO_PIN_SET);
      break;
    case LED_735_S3:
      HAL_GPIO_WritePin(LED_735_S3_GPIO_Port, LED_735_S3_Pin, GPIO_PIN_SET);
      break;
    case LED_850_S3:
      HAL_GPIO_WritePin(LED_850_S3_GPIO_Port, LED_850_S3_Pin, GPIO_PIN_SET);
      break;
    case LED_735_S4:
      HAL_GPIO_WritePin(LED_735_S4_GPIO_Port, LED_735_S4_Pin, GPIO_PIN_SET);
      break;
    case LED_850_S4:
      HAL_GPIO_WritePin(LED_850_S4_GPIO_Port, LED_850_S4_Pin, GPIO_PIN_SET);
      break;
    default:
      /* Handle invalid led_source */
      Error_Handler();
      break;
  }
}

/**
  * @brief Toggles all LEDs to LOW.
  * @param None
  * @retval None
  */
void TurnOffAllLEDs(void)
{
  HAL_GPIO_WritePin(LED_735_S1_GPIO_Port, LED_735_S1_Pin, GPIO_PIN_RESET);
  HAL_GPIO_WritePin(LED_850_S1_GPIO_Port, LED_850_S1_Pin, GPIO_PIN_RESET);
  HAL_GPIO_WritePin(LED_735_S2_GPIO_Port, LED_735_S2_Pin, GPIO_PIN_RESET);
  HAL_GPIO_WritePin(LED_850_S2_GPIO_Port, LED_850_S2_Pin, GPIO_PIN_RESET);
  HAL_GPIO_WritePin(LED_735_S3_GPIO_Port, LED_735_S3_Pin, GPIO_PIN_RESET);
  HAL_GPIO_WritePin(LED_850_S3_GPIO_Port, LED_850_S3_Pin, GPIO_PIN_RESET);
  HAL_GPIO_WritePin(LED_735_S4_GPIO_Port, LED_735_S4_Pin, GPIO_PIN_RESET);
  HAL_GPIO_WritePin(LED_850_S4_GPIO_Port, LED_850_S4_Pin, GPIO_PIN_RESET);
}

/**
  * @brief Select corresponding ADC and trigger sample conversion.
  * @param mux_select denoting MUXA (tied to ADC1) or MUXB (tied to ADC2).
  * @retval None
  */
void StartADCConversion(char mux_select)
{
  if (mux_select == MUX_A)
  {
    HAL_ADC_Start_IT(&hadc1);
  }
  else if (mux_select == MUX_B)
  {
    HAL_ADC_Start_IT(&hadc2);
  }
}

/**
  * @brief Checks if either data buffer has flag raised indicating their buffer is full.
  * If full, transmits the buffer over UART.
  * @param None
  * @retval None
  */
void Check_Buffer_Full_Task(void)
{
  // Iterate over the buffers to check if any buffer is full and not being transmitted
  for (uint8_t i = 0; i < NUM_BUFFERS; i++)
  {
    if ((dataBuffers[i].bufferFullFlag == BUFFER_FULL) && (transmittingBuffer == NO_TRANSMISSION_IN_PROGRESS))
    {
      // Stores the index of the buffer being transmitted so we can refer to it to clear its flag in UART transmit complete callback.
      transmittingBuffer = i;
      HAL_UART_Transmit_IT(&huart4, (uint8_t*)&dataBuffers[i].dataPacket, sizeof(DataPacket_t));

      break; // Only handle one buffer at a time
    }
  }
}

/**
  * @brief Callback function upon UART transmission completion.
  * Resets transmission flag so other buffers can be transmitted.
  */
void HAL_UART_TxCpltCallback(UART_HandleTypeDef *huart)
{
  // Transmission is complete, resets flag to allow other transmissions to proceed.
  dataBuffers[transmittingBuffer].bufferFullFlag = BUFFER_EMPTY; // Reset the buffer full flag
  transmittingBuffer = NO_TRANSMISSION_IN_PROGRESS;
}

/**
 * @brief IRQ handler callback function for when the timers have overflown.
 * For 10ms overflown event:
 * 1) Sets sampling active flag to begin the 40x ADC sampling cycle again.
 * 2) Selects the channel via MUX.
 * 3) Start charging the TIA for the first 200us cycle.
 *
 * For 200us overflown event:
 * 1) Selects the channel via MUX.
 * 2) Start charging the TIA for the next 200us cycle.
 */
void HAL_TIM_PeriodElapsedCallback(TIM_HandleTypeDef *htim)
{
  /* Code to execute every 10 ms (TIM2) */
	if (htim->Instance == TIM2)
	{
		__HAL_TIM_CLEAR_IT(&htim2, TIM_IT_UPDATE);

    /* Reset TIM3 counter */
    __HAL_TIM_SET_COUNTER(&htim3, 0);

    /* Set MUX inputs based on current_sequence */
    SetMuxInputs(current_sequence.mux_select, current_sequence.mux_input_value);

    /* Turn on the LED specified in current sequence */
    TurnOnLED(current_sequence.led_source);

    /* Start charging the TIA. */
    SetTIAHigh(current_sequence.mux_select);

		// Raises the flag for TIMER3 (200us) to start doing its job again.
		samplingActive = SAMPLING_ACTIVE;
	}
  /* Code to execute every 200 µs (TIM3) */
	else if (htim->Instance == TIM3)
	{
    __HAL_TIM_CLEAR_IT(&htim3, TIM_IT_UPDATE);

		if (samplingActive == SAMPLING_ACTIVE)
		{
      /* Set MUX inputs based on current_sequence */
      SetMuxInputs(current_sequence.mux_select, current_sequence.mux_input_value);

      /* Turn on the LED specified in current sequence */
      TurnOnLED(current_sequence.led_source);

      /* Start charging the TIA. */
      SetTIAHigh(current_sequence.mux_select);
		}
	}
}

/**
 * @brief Output compare event callback function. This is used
 * to trigger the ADC conversion mid of 200us interval.
 */
void HAL_TIM_OC_DelayElapsedCallback(TIM_HandleTypeDef *htim)
{
  if (htim->Instance == TIM3)
  {
    if (htim->Channel == HAL_TIM_ACTIVE_CHANNEL_1)
    {
			if (samplingActive == SAMPLING_ACTIVE)
			{
        /* Start ADC conversion based on mux select */
        StartADCConversion(current_sequence.mux_select);
			}
    }
  }
}

/**
 * @brief Callback function for a complete ADC sample conversion.
 * Stores the ADC sample in the data buffer, and switches the data buffer
 * if all 40 samples have been collected and the buffer is full.
 */
void HAL_ADC_ConvCpltCallback(ADC_HandleTypeDef* hadc)
{
	if((hadc->Instance == ADC1) || (hadc->Instance == ADC2))
	{
		// Processes the ADC conversion result
		uint16_t adcValue = HAL_ADC_GetValue(hadc);

		// Stores ADC value in the current buffer
    if (dataBuffers[bufferNumIndex].bufferFullFlag == BUFFER_EMPTY)
    {
      dataBuffers[bufferNumIndex].dataPacket.adcSamples[adcSampleIndex] = adcValue;
    }
		else{ Error_Handler(); }

    // Increments adcSampleIndex after storing the value.
    adcSampleIndex++;

    // Resets the TIA & turns off LED.
    SetTIALow();
    TurnOffAllLEDs();

    // Check if buffer is full.
    if (adcSampleIndex >= SAMPLE_COUNT)
    {
      __disable_irq();

      // Buffer is full
      dataBuffers[bufferNumIndex].bufferFullFlag = BUFFER_FULL; // Set buffer full flag.
      adcSampleIndex = 0;                                       // Reset sample index.

      // Switch to the next buffer.
      bufferNumIndex = (bufferNumIndex + 1) % NUM_BUFFERS;

			// Sampling is complete.
      samplingActive = SAMPLING_INACTIVE;

      __enable_irq();
		}

    /* Updates the sequence to the next entry for the next interval. */
    UpdateSequenceState();
	}
}

/**
 * @brief Flags an error exception when both buffers are detected to be full.
 * The implication is that the UART transmission speed is inadequate for data consumption.
 */
void Buffers_Overflow_Error_Task(void)
{
	if(dataBuffers[0].bufferFullFlag == BUFFER_FULL && dataBuffers[1].bufferFullFlag == BUFFER_FULL)
	{
		__disable_irq();
    HAL_GPIO_WritePin(MCU_LED_GPIO_Port, MCU_LED_Pin, GPIO_PIN_RESET);
		//TODO: Probably disable TIMERx, and ADC here.
		while (1)
		{
		}
	}
}

/* USER CODE END 4 */

void Error_Handler(void)
{
  /* USER CODE BEGIN Error_Handler_Debug */
  /* User can add his own implementation to report the HAL error return state */
  HAL_GPIO_WritePin(MCU_LED_GPIO_Port, MCU_LED_Pin, GPIO_PIN_RESET);
  __disable_irq();
  while (1)
  {
  }
  /* USER CODE END Error_Handler_Debug */
}
